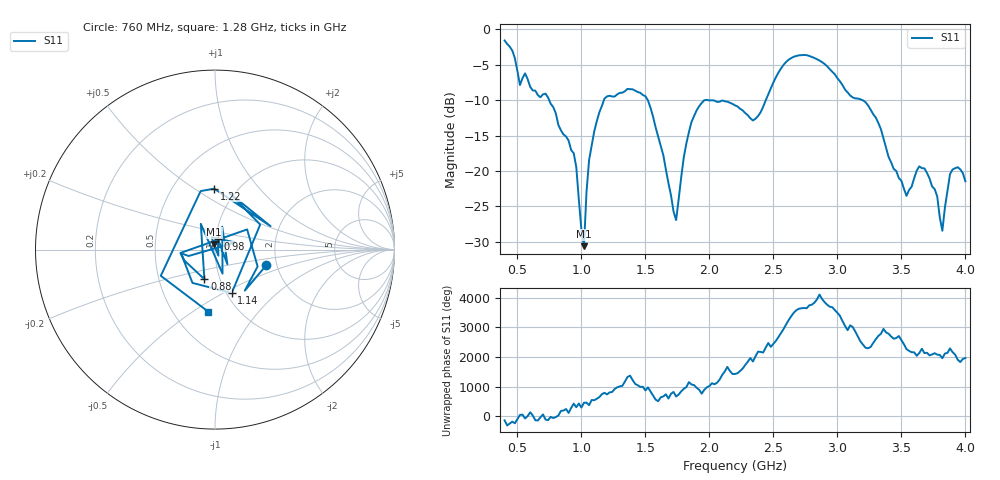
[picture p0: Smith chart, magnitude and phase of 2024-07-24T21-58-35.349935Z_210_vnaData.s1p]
!Created with skrf (http://scikit-rf.org).
# Hz S RI R 50.0
!freq ReS11 ImS11
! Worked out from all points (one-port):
!   181 points, 400 MHz to 4 GHz, reference 50 ohm
!   lowest |S11| = -30.6 dB at 1.02 GHz (marker M1), VSWR 1.06, Z = 49.4 + j2.86 ohm
!   |S11| at or under -10 dB: 1.519 GHz to 1.964 GHz (445.6 MHz wide, 25.6 % of centre); 1.99 GHz to 2.441 GHz (451 MHz wide, 20.4 % of centre); 3.196 GHz to end of sweep (the widest 3 of 4)
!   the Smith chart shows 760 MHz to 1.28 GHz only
!   S11 on the Smith chart (normalised r, x): 760 MHz: 1.76, -0.34; 880 MHz: 0.84, -0.29; 980 MHz: 1.02, +0.12; 1.14 GHz: 1.06, -0.55; 1.22 GHz: 0.79, +0.60; 1.28 GHz: 0.73, -0.58
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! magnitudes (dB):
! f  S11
! 400 MHz  -1.6
! 520 MHz  -7.9
! 760 MHz  -10.5
! 860 MHz  -14.8
! 880 MHz  -15.1
! 940 MHz  -17.5
! 980 MHz  -24.0
! 1.02 GHz  -30.6
! 1.06 GHz  -18.4
! 1.14 GHz  -11.7
! 1.22 GHz  -9.4
! 1.28 GHz  -9.2
! 1.3 GHz  -9.0
! 1.52 GHz  -10.0
! 1.74 GHz  -26.9
! 1.76 GHz  -23.9
! 1.82 GHz  -16.1
! 1.9 GHz  -11.4
! 2.2 GHz  -10.7
! 2.36 GHz  -12.6
! 2.66 GHz  -3.9
! 3.1 GHz  -9.3
! 3.3 GHz  -12.5
! 3.56 GHz  -22.7
! 3.68 GHz  -19.6
! 3.82 GHz  -28.4
! 3.88 GHz  -20.4
! 4 GHz  -21.5
